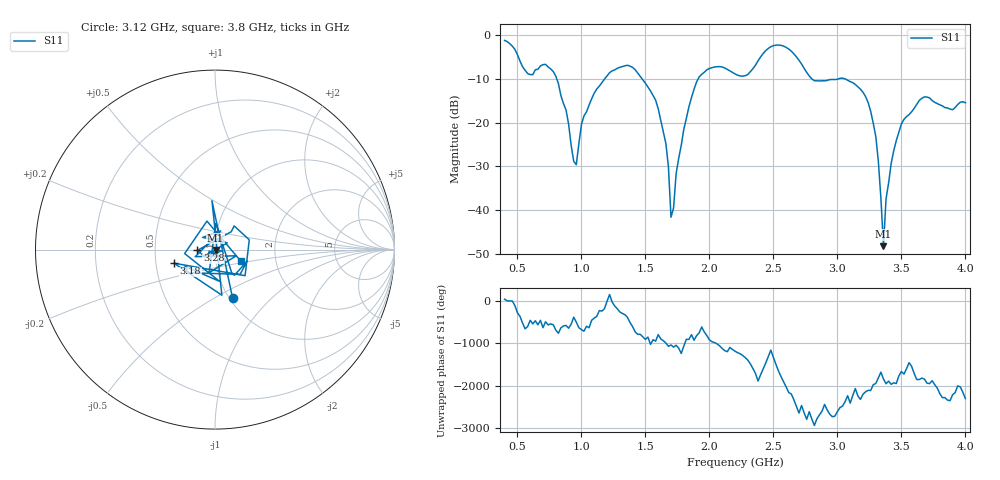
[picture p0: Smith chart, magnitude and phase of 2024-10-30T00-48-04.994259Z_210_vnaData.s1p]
!Created with skrf (http://scikit-rf.org).
# Hz S RI R 50.0
!freq ReS11 ImS11
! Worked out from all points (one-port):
!   181 points, 400 MHz to 4 GHz, reference 50 ohm
!   lowest |S11| = -48.2 dB at 3.36 GHz (marker M1), VSWR 1.01, Z = 50.3 - j0.26 ohm
!   |S11| at or under -10 dB: 807.3 MHz to 1.182 GHz (374.7 MHz wide, 37.7 % of centre); 1.476 GHz to 1.912 GHz (436.8 MHz wide, 25.8 % of centre); 3.06 GHz to end of sweep (the widest 3 of 4)
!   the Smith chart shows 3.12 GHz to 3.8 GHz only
!   S11 on the Smith chart (normalised r, x): 3.12 GHz: 1.04, -0.61; 3.18 GHz: 0.62, -0.10; 3.28 GHz: 0.82, -0.01; 3.8 GHz: 1.33, -0.18
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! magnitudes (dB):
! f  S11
! 400 MHz  -1.2
! 580 MHz  -8.8
! 780 MHz  -8.3
! 860 MHz  -15.6
! 960 MHz  -29.6
! 1.02 GHz  -18.5
! 1.3 GHz  -7.4
! 1.58 GHz  -14.9
! 1.66 GHz  -24.8
! 1.68 GHz  -30.2
! 1.7 GHz  -41.6
! 1.76 GHz  -28.2
! 1.92 GHz  -9.6
! 2.2 GHz  -8.9
! 2.5 GHz  -2.4
! 2.66 GHz  -4.3
! 2.82 GHz  -10.4
! 3.1 GHz  -10.6
! 3.12 GHz  -10.9
! 3.18 GHz  -12.4
! 3.28 GHz  -20.1
! 3.32 GHz  -28.9
! 3.36 GHz  -48.2
! 3.38 GHz  -37.5
! 3.42 GHz  -29.4
! 3.56 GHz  -18.2
! 3.8 GHz  -15.9
! 4 GHz  -15.5
